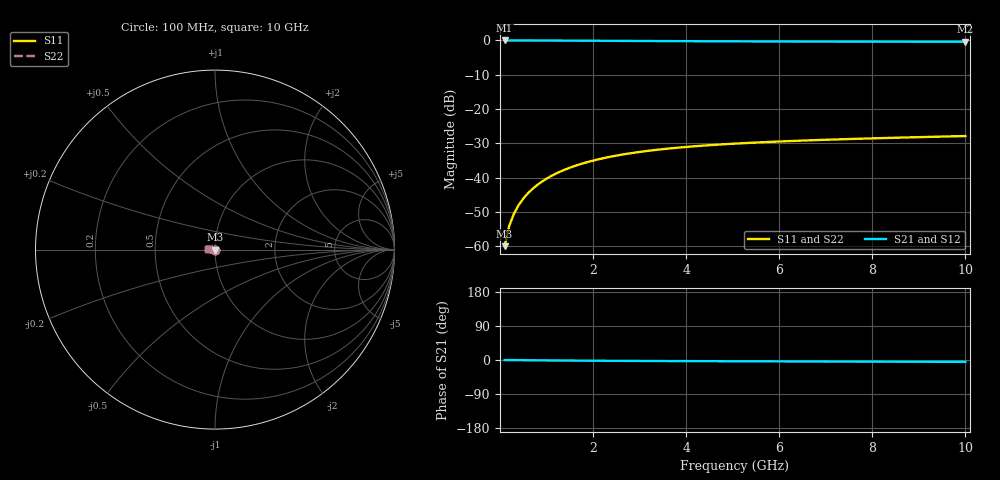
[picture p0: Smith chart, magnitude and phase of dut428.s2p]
! Touchstone file exported from HFSS 2024.1.0
!  File:  C:/UserFiles/LocalFiles/RDL_TSV_Batchsim/temp_TSV1_428_1779694013.aedt
!  Generated:  03:31:21 PM May 25, 2026
!  Design:  TSV1
!  Project:  temp_TSV1_428_1779694013
!  Setup:  Setup1
!  Solution:  Sweep
! Variables:
!  dtsv = 8.65um
!  hbump = 3um
!  htsv = 75.95um
!  lrdl = 252.1521522um
!  p = 40
!  p1 = 47.87um
!  t = 500um
!  trdl = 3um
!  wrdl = 24.89489489um
# GHz S MA R 50.000000
! Terminal data exported
! Port[1] = TSV22_T1
! Port[2] = TSV22_T2
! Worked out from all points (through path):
!   100 points, 100 MHz to 10 GHz, reference 50 ohm
!   highest |S21| = 0.00 dB at 100 MHz (marker M1); lowest = -0.4 dB at 10 GHz (marker M2)
!   lowest |S11| = -59.9 dB at 100 MHz (marker M3), VSWR 1.00, Z = 50 - j0.0994 ohm
!   |S11| at or under -10 dB: start of sweep to end of sweep
!   |S22| runs from -59.9 to -27.9 dB; largest |S21 - S12| = 3.1e-15
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0.1  0.001006 -81.0  0.9998 -0.1  0.9998 -0.1  0.001006 -81.0
! Gamma 0 0 0 0
! Port Impedance 50 0 50 0
0.2  0.001993 -88.0  0.9997 -0.2  0.9997 -0.2  0.001993 -88.0
0.3  0.002986 -91.6  0.9995 -0.3  0.9995 -0.3  0.002986 -91.6
0.4  0.003974 -94.3  0.9993 -0.4  0.9993 -0.4  0.003974 -94.3
0.5  0.004954 -96.7  0.999 -0.5  0.999 -0.5  0.004954 -96.7
0.6  0.005925 -98.9  0.9986 -0.7  0.9986 -0.7  0.005925 -98.9
0.7  0.006884 -100.9  0.9982 -0.8  0.9982 -0.8  0.006884 -100.9
0.8  0.007829 -102.9  0.9978 -0.9  0.9978 -0.9  0.007829 -102.9
0.9  0.00876 -104.8  0.9973 -1.0  0.9973 -1.0  0.00876 -104.8
1.1  0.01057 -108.5  0.9962 -1.2  0.9962 -1.2  0.01057 -108.5
1.4  0.01315 -113.7  0.9942 -1.4  0.9942 -1.4  0.01315 -113.7
1.6  0.01477 -117.0  0.9928 -1.6  0.9928 -1.6  0.01477 -117.0
1.8  0.0163 -120.2  0.9913 -1.8  0.9913 -1.8  0.0163 -120.2
2.1  0.01844 -124.8  0.9889 -2.0  0.9889 -2.0  0.01844 -124.8
2.5  0.02099 -130.5  0.9858 -2.2  0.9858 -2.2  0.02099 -130.5
2.9  0.02323 -135.7  0.9828 -2.5  0.9828 -2.5  0.02323 -135.7
3.4  0.02564 -141.7  0.9793 -2.7  0.9793 -2.7  0.02564 -141.7
4.2  0.02877 -150.0  0.9744 -3.0  0.9744 -3.0  0.02877 -150.0
5.1  0.03151 -158.1  0.9699 -3.4  0.9699 -3.4  0.03151 -158.1
6.7  0.03514 -169.8  0.9641 -3.9  0.9641 -3.9  0.03514 -169.8
8.4  0.03808 -179.8  0.9601 -4.4  0.9601 -4.4  0.03808 -179.8
10  0.04047 172.2  0.9574 -4.9  0.9574 -4.9  0.04047 172.2
